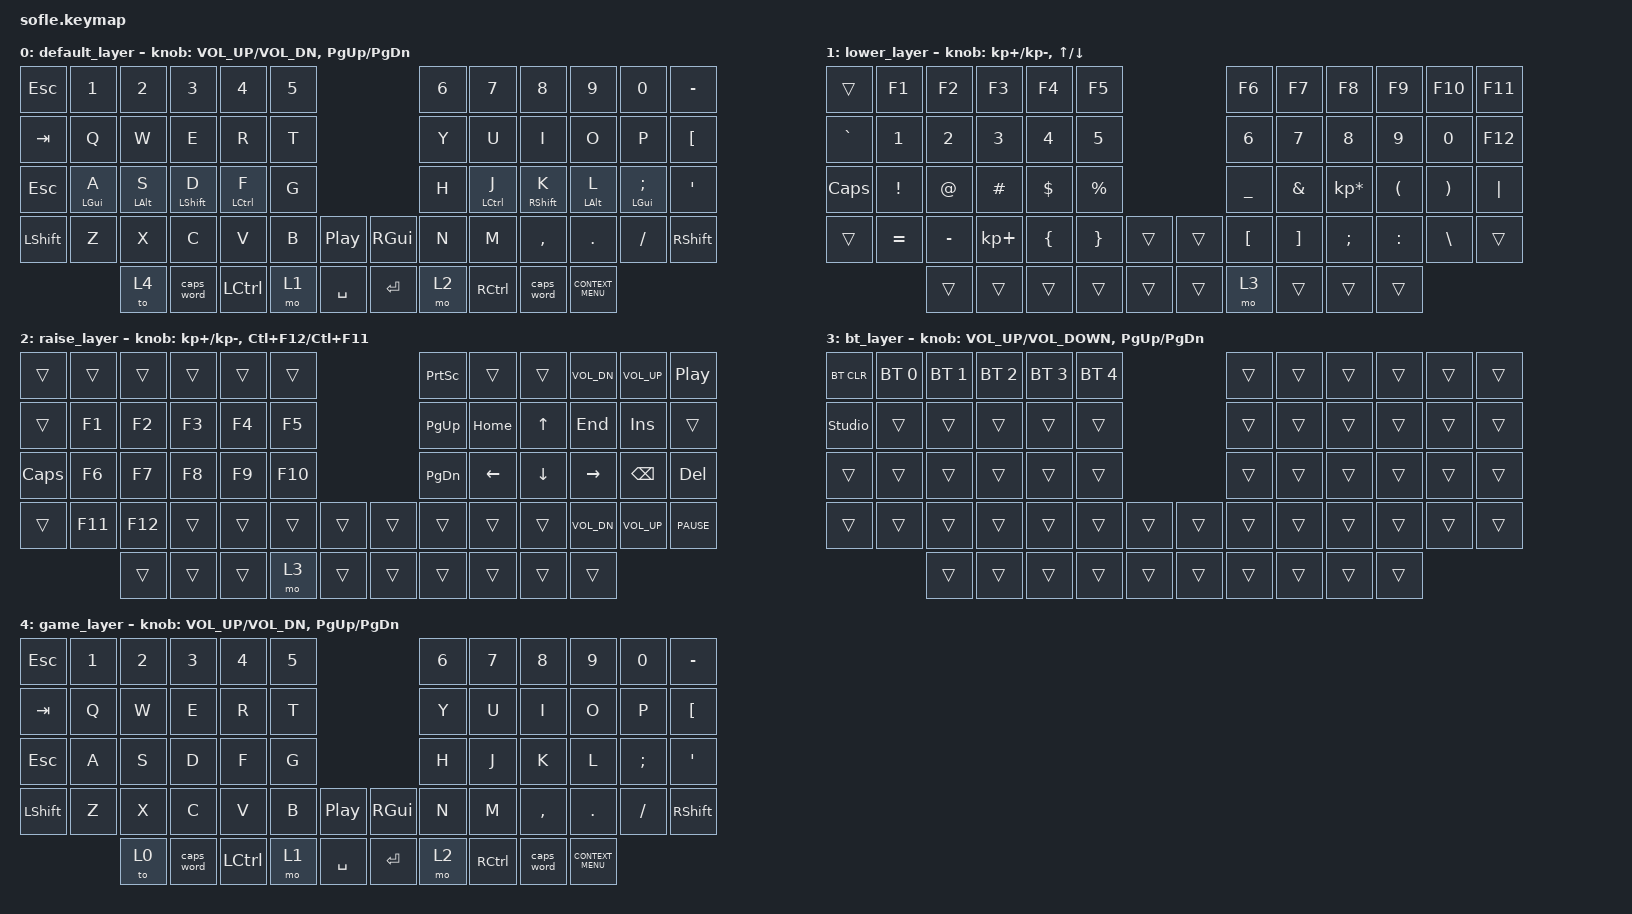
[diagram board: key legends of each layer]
/*
 * Copyright (c) 2020 The ZMK Contributors
 *
 * SPDX-License-Identifier: MIT
 */

#include <behaviors.dtsi>
#include <dt-bindings/zmk/bt.h>
#include <dt-bindings/zmk/keys.h>

/ {
    behaviors {
        hm: homerow_mods {
            compatible = "zmk,behavior-hold-tap";
            label = "HOMEROW_MODS";
            #binding-cells = <2>;
            tapping-term-ms = <200>;
            quick-tap-ms = <0>;
            flavor = "tap-preferred";
            bindings = <&kp>, <&kp>;
        };
    };

    keymap {
        compatible = "zmk,keymap";

        default_layer {
            // ------------------------------------------------------------------------------------------------------------
            // |  `    |  1  |  2  |  3   |  4   |  5   |                   |  6   |  7    |  8    |  9   |   0   |  DEL  |
            // |  ESC  |  Q  |  W  |  E   |  R   |  T   |                   |  Y   |  U    |  I    |  O   |   P   | BKSPC |
            // |  TAB  |  A  |  S  |  D   |  F   |  G   |                   |  H   |  J    |  K    |  L   |   ;   |   '   |
            // | SHIFT |  Z  |  X  |  C   |  V   |  B   |  MUTE  |  |  GUI  |  N   |  M    |  ,    |  .   |   /   | SHIFT |
            //               | GUI | ALT  | CTRL | LOWER|  ENTER |  | SPACE | RAISE| CTRL  | ALT   | GUI  |

            bindings = <
&kp ESC    &kp N1      &kp NUMBER_2  &kp N3       &kp N4       &kp N5                               &kp N6  &kp N7       &kp N8        &kp N9              &kp N0         &kp MINUS
&kp TAB    &kp Q       &kp W         &kp E        &kp R        &kp T                                &kp Y   &kp U        &kp I         &kp O               &kp P          &kp LBKT
&kp ESC    &hm LGUI A  &hm LALT S    &hm LSHFT D  &hm LCTRL F  &kp G                                &kp H   &hm LCTRL J  &hm RSHIFT K  &hm LALT L          &hm LGUI SEMI  &kp SQT
&kp LSHFT  &kp Z       &kp X         &kp C        &kp V        &kp B   &kp C_PLAY_PAUSE  &kp RGUI   &kp N   &kp M        &kp COMMA     &kp DOT             &kp FSLH       &kp RSHFT
                       &to 4         &caps_word   &kp LCTRL    &mo 1   &kp SPACE         &kp ENTER  &mo 2   &kp RCTRL    &caps_word    &kp K_CONTEXT_MENU
            >;

            sensor-bindings = <&inc_dec_kp C_VOL_UP C_VOL_DN &inc_dec_kp PG_UP PG_DN>;
        };

        lower_layer {
            // TODO: Some binds are waiting for shifted keycode support.
            // ------------------------------------------------------------------------------------------------------------
            // |       |  F1 |  F2 |  F3  |  F4  |  F5  |                   |  F6  |  F7   |  F8   |  F9  |  F10  |  F11  |
            // | `     |   1 |   2 |   3  |   4  |   5  |                   |   6  |   7   |   8   |   9  |    0  |  F12  |
            // |       |  !  |  @  |  #   |  $   |  %   |                   |  ^   |  &    |  *    |  (   |   )   |   |   |
            // |       |  =  |  -  |  +   |  {   |  }   |        |  |       |  [   |  ]    |  ;    |  :   |   \   |       |
            //               |     |      |      |      |        |  |       |      |       |       |      |

            bindings = <
&trans        &kp F1     &kp F2     &kp F3       &kp F4    &kp F5                     &kp F6          &kp F7    &kp F8           &kp F9     &kp F10   &kp F11
&kp GRAVE     &kp N1     &kp N2     &kp N3       &kp N4    &kp N5                     &kp N6          &kp N7    &kp N8           &kp N9     &kp N0    &kp F12
&kp CAPSLOCK  &kp EXCL   &kp AT     &kp HASH     &kp DLLR  &kp PRCNT                  &kp UNDERSCORE  &kp AMPS  &kp KP_MULTIPLY  &kp LPAR   &kp RPAR  &kp PIPE
&trans        &kp EQUAL  &kp MINUS  &kp KP_PLUS  &kp LBRC  &kp RBRC   &trans  &trans  &kp LBKT        &kp RBKT  &kp SEMI         &kp COLON  &kp BSLH  &trans
                         &trans     &trans       &trans    &trans     &trans  &trans  &mo 3           &trans    &trans           &trans
            >;

            sensor-bindings =
                <&inc_dec_kp KP_PLUS KP_MINUS>,
                <&inc_dec_kp UP DOWN>;
        };

        raise_layer {
            // ------------------------------------------------------------------------------------------------------------
            // |BTCLR| BT1  | BT2  |  BT3  |  BT4  |  BT5 |                |      |      |       |      |       |       |
            // |     | INS  | PSCR | GUI   |       |      |                | PGUP |      |   ^   |      |       |       |
            // |     | ALT  | CTRL | SHIFT |       | CAPS |                | PGDN |   <- |   v   |  ->  |  DEL  | BKSPC |
            // |     | UNDO | CUT  | COPY  | PASTE |      |      |  |      |      |      |       |      |       |       |
            //              |      |       |       |      |      |  |      |      |      |       |      |

            bindings = <
&trans        &trans   &trans   &trans  &trans  &trans                   &kp PRINTSCREEN  &trans    &trans    &kp C_VOL_DN  &kp C_VOL_UP   &kp C_PLAY_PAUSE
&trans        &kp F1   &kp F2   &kp F3  &kp F4  &kp F5                   &kp PG_UP        &kp HOME  &kp UP    &kp END       &kp INS        &trans
&kp CAPSLOCK  &kp F6   &kp F7   &kp F8  &kp F9  &kp F10                  &kp PG_DN        &kp LEFT  &kp DOWN  &kp RIGHT     &kp BACKSPACE  &kp DELETE
&trans        &kp F11  &kp F12  &trans  &trans  &trans   &trans  &trans  &trans           &trans    &trans    &kp C_VOL_DN  &kp C_VOL_UP   &kp C_PAUSE
                       &trans   &trans  &trans  &mo 3    &trans  &trans  &trans           &trans    &trans    &trans
            >;

            sensor-bindings =
                <&inc_dec_kp KP_PLUS KP_MINUS>,
                <&inc_dec_kp LC(F12) LC(F11)>;
        };

        bt_layer {
            bindings = <
&bt BT_CLR  &bt BT_SEL 0  &bt BT_SEL 1  &bt BT_SEL 2  &bt BT_SEL 3  &bt BT_SEL 4                  &trans  &trans  &trans  &trans  &trans  &trans
&studio_unlock &trans       &trans        &trans        &trans        &trans                        &trans  &trans  &trans  &trans  &trans  &trans
&trans      &trans        &trans        &trans        &trans        &trans                        &trans  &trans  &trans  &trans  &trans  &trans
&trans      &trans        &trans        &trans        &trans        &trans        &trans  &trans  &trans  &trans  &trans  &trans  &trans  &trans
                          &trans        &trans        &trans        &trans        &trans  &trans  &trans  &trans  &trans  &trans
            >;

            sensor-bindings = <&inc_dec_kp C_VOL_UP C_VOLUME_DOWN &inc_dec_kp PG_UP PG_DN>;
        };

        game_layer {
            bindings = <
&kp ESC    &kp N1  &kp NUMBER_2  &kp N3      &kp N4     &kp N5                               &kp N6  &kp N7     &kp N8      &kp N9              &kp N0         &kp MINUS
&kp TAB    &kp Q   &kp W         &kp E       &kp R      &kp T                                &kp Y   &kp U      &kp I       &kp O               &kp P          &kp LBKT
&kp ESC    &kp A   &kp S         &kp D       &kp F      &kp G                                &kp H   &kp J      &kp K       &kp L               &kp SEMICOLON  &kp SQT
&kp LSHFT  &kp Z   &kp X         &kp C       &kp V      &kp B   &kp C_PLAY_PAUSE  &kp RGUI   &kp N   &kp M      &kp COMMA   &kp DOT             &kp FSLH       &kp RSHFT
                   &to 0         &caps_word  &kp LCTRL  &mo 1   &kp SPACE         &kp ENTER  &mo 2   &kp RCTRL  &caps_word  &kp K_CONTEXT_MENU
            >;

            sensor-bindings = <&inc_dec_kp C_VOL_UP C_VOL_DN &inc_dec_kp PG_UP PG_DN>;
        };
    };
};
